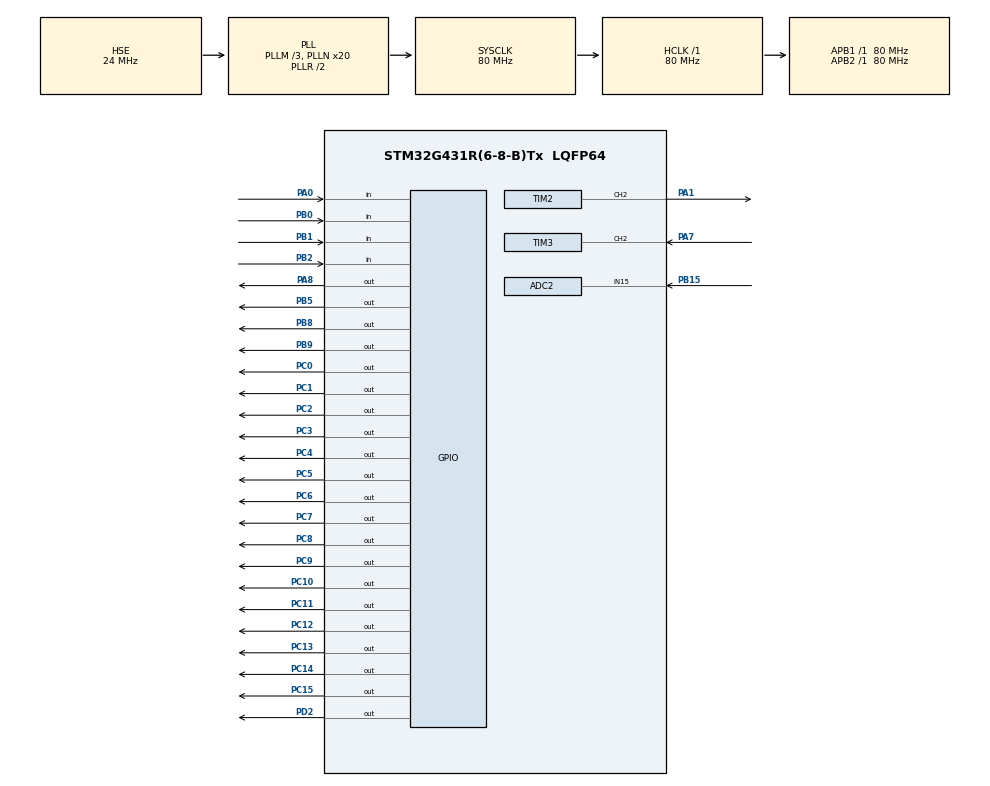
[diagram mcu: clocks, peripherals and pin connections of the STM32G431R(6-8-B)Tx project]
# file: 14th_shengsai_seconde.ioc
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ADC2.Channel-0\#ChannelRegularConversion=ADC_CHANNEL_15
ADC2.NbrOfConversionFlag=1
ADC2.OffsetNumber-0\#ChannelRegularConversion=ADC_OFFSET_NONE
ADC2.Rank-0\#ChannelRegularConversion=1
ADC2.SamplingTime-0\#ChannelRegularConversion=ADC_SAMPLETIME_2CYCLES_5
Mcu.Family=STM32G4
Mcu.Name=STM32G431R(6-8-B)Tx
Mcu.Package=LQFP64
NVIC.PriorityGroup=NVIC_PRIORITYGROUP_4
NVIC.TIM3_IRQn=true\:0\:0\:false\:false\:true\:true\:true\:true
NVIC.TIM4_IRQn=true\:0\:0\:false\:false\:true\:true\:true\:true
PA0.GPIO_PuPd=GPIO_PULLUP
PA0.Signal=GPIO_Input
PA1.Signal=S_TIM2_CH2
PA13.Mode=Serial_Wire
PA13.Signal=SYS_JTMS-SWDIO
PA14.Mode=Serial_Wire
PA14.Signal=SYS_JTCK-SWCLK
PA7.Signal=S_TIM3_CH2
PA8.Signal=GPIO_Output
PB0.GPIO_PuPd=GPIO_PULLUP
PB0.Signal=GPIO_Input
PB1.GPIO_PuPd=GPIO_PULLUP
PB1.Signal=GPIO_Input
PB15.Mode=IN15-Single-Ended
PB15.Signal=ADC2_IN15
PB2.GPIO_PuPd=GPIO_PULLUP
PB2.Signal=GPIO_Input
PB5.Signal=GPIO_Output
PB8-BOOT0.Signal=GPIO_Output
PB9.Signal=GPIO_Output
PC0.Signal=GPIO_Output
PC1.Signal=GPIO_Output
PC10.PinState=GPIO_PIN_SET
PC10.Signal=GPIO_Output
PC11.PinState=GPIO_PIN_SET
PC11.Signal=GPIO_Output
PC12.PinState=GPIO_PIN_SET
PC12.Signal=GPIO_Output
PC13.PinState=GPIO_PIN_SET
PC13.Signal=GPIO_Output
PC14-OSC32_IN.PinState=GPIO_PIN_SET
PC14-OSC32_IN.Signal=GPIO_Output
PC15-OSC32_OUT.PinState=GPIO_PIN_SET
PC15-OSC32_OUT.Signal=GPIO_Output
PC2.Signal=GPIO_Output
PC3.Signal=GPIO_Output
PC4.Signal=GPIO_Output
PC5.Signal=GPIO_Output
PC6.Signal=GPIO_Output
PC7.Signal=GPIO_Output
PC8.PinState=GPIO_PIN_SET
PC8.Signal=GPIO_Output
PC9.PinState=GPIO_PIN_SET
PC9.Signal=GPIO_Output
PD2.Signal=GPIO_Output
PF0-OSC_IN.Mode=HSE-External-Oscillator
PF0-OSC_IN.Signal=RCC_OSC_IN
PF1-OSC_OUT.Mode=HSE-External-Oscillator
PF1-OSC_OUT.Signal=RCC_OSC_OUT
ProjectManager.HeapSize=0x200
ProjectManager.StackSize=0x400
ProjectManager.TargetToolchain=MDK-ARM V5.32
RCC.ADC12Freq_Value=80000000
RCC.AHBFreq_Value=80000000
RCC.APB1Freq_Value=80000000
RCC.APB1TimFreq_Value=80000000
RCC.APB2Freq_Value=80000000
RCC.APB2TimFreq_Value=80000000
RCC.CortexFreq_Value=80000000
RCC.EXTERNAL_CLOCK_VALUE=12288000
RCC.HCLKFreq_Value=80000000
RCC.HSE_VALUE=24000000
RCC.HSI48_VALUE=48000000
RCC.HSI_VALUE=16000000
RCC.LSE_VALUE=32768
RCC.PLLM=RCC_PLLM_DIV3
RCC.PLLN=20
RCC.PLLSourceVirtual=RCC_PLLSOURCE_HSE
RCC.SYSCLKFreq_VALUE=80000000
RCC.SYSCLKSource=RCC_SYSCLKSOURCE_PLLCLK
RCC.USBFreq_Value=80000000
RCC.VCOOutputFreq_Value=160000000
SH.S_TIM2_CH2.0=TIM2_CH2,PWM Generation2 CH2
SH.S_TIM3_CH2.0=TIM3_CH2,Input_Capture2_from_TI2
TIM2.Channel-PWM\ Generation2\ CH2=TIM_CHANNEL_2
TIM2.PeriodNoDither=100-1
TIM2.Prescaler=200-1
TIM2.PulseNoDither_2=10
TIM3.Channel-Input_Capture2_from_TI2=TIM_CHANNEL_2
TIM3.Prescaler=80-1
TIM4.PeriodNoDither=10000-1
TIM4.Prescaler=80-1
VP_SYS_VS_DBSignals.Mode=DisableDeadBatterySignals
VP_TIM2_VS_ClockSourceINT.Mode=Internal
VP_TIM3_VS_ClockSourceINT.Mode=Internal
VP_TIM4_VS_ClockSourceINT.Mode=Internal
board=custom

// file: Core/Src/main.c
/* USER CODE BEGIN Header */
/**
  ******************************************************************************
  * @file           : main.c
  * @brief          : Main program body
  ******************************************************************************
  * @attention
  *
  * Copyright (c) 2024 STMicroelectronics.
  * All rights reserved.
  *
  * This software is licensed under terms that can be found in the LICENSE file
  * in the root directory of this software component.
  * If no LICENSE file comes with this software, it is provided AS-IS.
  *
  ******************************************************************************
  */
/* USER CODE END Header */
#include "main.h"
#include "adc.h"
#include "tim.h"
#include "gpio.h"

/* USER CODE BEGIN Includes */

#include "stdio.h"
#include "string.h"

#include "led.h"
#include "timer.h"
#include "lcd.h"
#include "myadc.h"

#include "math.h"

/* USER CODE END Includes */

/* USER CODE BEGIN PTD */

unsigned char ucled=0x00;
unsigned char lcd_text[30];
unsigned char view=0;

__IO uint32_t uwTick_led;
__IO uint32_t uwTick_lcd;
__IO uint32_t uwTick_V;

double v_speed;
unsigned char M=0;
unsigned int pa1_duty;

unsigned char choose_mode=0;

unsigned int R=1;
unsigned int K=1;

unsigned int R_change=1;
unsigned int K_change=1;

unsigned int N=0;
double MH=0;//高频模式最大速度
double ML=0;//高频模式最小速度

unsigned char locking;
unsigned char choose_RK=0;

unsigned int pa1_frq=4000;

/* USER CODE END PTD */

void SystemClock_Config(void);
/* USER CODE BEGIN PFP */

void lcd_proc(void);
void key_proc(void);
void led_proc(void);
void PA1_Change(void);

/* USER CODE END PFP */

int main(void)
{

  /* MCU Configuration--------------------------------------------------------*/

  /* Reset of all peripherals, Initializes the Flash interface and the Systick. */
  HAL_Init();

  /* Configure the system clock */
  SystemClock_Config();

  /* Initialize all configured peripherals */
  MX_GPIO_Init();
  MX_ADC2_Init();
  MX_TIM2_Init();
  MX_TIM3_Init();
  MX_TIM4_Init();
  /* USER CODE BEGIN 2 */

    LCD_Init();
    LCD_Clear(Black);
    LCD_SetBackColor(Black);
    LCD_SetTextColor(White);

    led_disp(ucled);

    HAL_TIM_Base_Start_IT(&htim4);

    HAL_TIM_PWM_Start(&htim2,TIM_CHANNEL_2);
    HAL_TIM_IC_Start_IT(&htim3,TIM_CHANNEL_2);

  /* USER CODE END 2 */

  /* Infinite loop */
  while (1)
  {

    /* USER CODE BEGIN 3 */
      key_proc();
      PA1_Change();
      lcd_proc();
      led_proc();
  }
  /* USER CODE END 3 */
}

void SystemClock_Config(void)
{
  RCC_OscInitTypeDef RCC_OscInitStruct = {0};
  RCC_ClkInitTypeDef RCC_ClkInitStruct = {0};

  /** Configure the main internal regulator output voltage
  */
  HAL_PWREx_ControlVoltageScaling(PWR_REGULATOR_VOLTAGE_SCALE1);

  /** Initializes the RCC Oscillators according to the specified parameters
  * in the RCC_OscInitTypeDef structure.
  */
  RCC_OscInitStruct.OscillatorType = RCC_OSCILLATORTYPE_HSE;
  RCC_OscInitStruct.HSEState = RCC_HSE_ON;
  RCC_OscInitStruct.PLL.PLLState = RCC_PLL_ON;
  RCC_OscInitStruct.PLL.PLLSource = RCC_PLLSOURCE_HSE;
  RCC_OscInitStruct.PLL.PLLM = RCC_PLLM_DIV3;
  RCC_OscInitStruct.PLL.PLLN = 20;
  RCC_OscInitStruct.PLL.PLLP = RCC_PLLP_DIV2;
  RCC_OscInitStruct.PLL.PLLQ = RCC_PLLQ_DIV2;
  RCC_OscInitStruct.PLL.PLLR = RCC_PLLR_DIV2;
  if (HAL_RCC_OscConfig(&RCC_OscInitStruct) != HAL_OK)
  {
    Error_Handler();
  }

  /** Initializes the CPU, AHB and APB buses clocks
  */
  RCC_ClkInitStruct.ClockType = RCC_CLOCKTYPE_HCLK|RCC_CLOCKTYPE_SYSCLK
                              |RCC_CLOCKTYPE_PCLK1|RCC_CLOCKTYPE_PCLK2;
  RCC_ClkInitStruct.SYSCLKSource = RCC_SYSCLKSOURCE_PLLCLK;
  RCC_ClkInitStruct.AHBCLKDivider = RCC_SYSCLK_DIV1;
  RCC_ClkInitStruct.APB1CLKDivider = RCC_HCLK_DIV1;
  RCC_ClkInitStruct.APB2CLKDivider = RCC_HCLK_DIV1;

  if (HAL_RCC_ClockConfig(&RCC_ClkInitStruct, FLASH_LATENCY_2) != HAL_OK)
  {
    Error_Handler();
  }
}

/* USER CODE BEGIN 4 */

void PA1_Change(void)
{
    if(0==locking)//不处于锁定状态，占空比受R37电位器输出电压控制
    {
        double R_37;
        R_37=GetAdc(&hadc2);
        if(R_37<=1)
        {
            pa1_duty=10;
          __HAL_TIM_SetCompare(&htim2,TIM_CHANNEL_2,pa1_duty);
        }
        else if(R_37>=3)
        {
            pa1_duty=85;
          __HAL_TIM_SetCompare(&htim2,TIM_CHANNEL_2,pa1_duty);
        }
        else
        {
            pa1_duty=((75.0/2)*R_37-(55.0/2.0));
          __HAL_TIM_SetCompare(&htim2,TIM_CHANNEL_2,pa1_duty);

        }
    }
}

void lcd_proc(void)
{
    if((uwTick-uwTick_lcd)<100)return;
    uwTick_lcd=uwTick;

    switch(view)
    {
        case 0://数据显示界面
            memset(lcd_text,0,sizeof(lcd_text));
            sprintf((char *)lcd_text,"        DATA          ");
            LCD_DisplayStringLine(Line1,lcd_text);

            memset(lcd_text,0,sizeof(lcd_text));
            switch(M)
            {
                case 0://低频
                    sprintf((char *)lcd_text,"     M=L          ");
                    break;
                case 1://高频
                    sprintf((char *)lcd_text,"     M=H          ");
                    break;
            }
            LCD_DisplayStringLine(Line3,lcd_text);

            memset(lcd_text,0,sizeof(lcd_text));
            sprintf((char *)lcd_text,"     P=%d%%               ",pa1_duty);
            LCD_DisplayStringLine(Line4,lcd_text);

            memset(lcd_text,0,sizeof(lcd_text));
            sprintf((char *)lcd_text,"     V=%0.1f              ",v_speed);
            LCD_DisplayStringLine(Line5,lcd_text);

            break;
        case 1://参数界面
            memset(lcd_text,0,sizeof(lcd_text));
            sprintf((char *)lcd_text,"        PARA          ");
            LCD_DisplayStringLine(Line1,lcd_text);

            memset(lcd_text,0,sizeof(lcd_text));
            sprintf((char *)lcd_text,"     R=%d               ",R_change);
            LCD_DisplayStringLine(Line3,lcd_text);

            memset(lcd_text,0,sizeof(lcd_text));
            sprintf((char *)lcd_text,"     K=%d               ",K_change);
            LCD_DisplayStringLine(Line4,lcd_text);

            break;
        case 2://统计界面
            memset(lcd_text,0,sizeof(lcd_text));
            sprintf((char *)lcd_text,"        RECD          ");
            LCD_DisplayStringLine(Line1,lcd_text);

            memset(lcd_text,0,sizeof(lcd_text));
            sprintf((char *)lcd_text,"     N=%d               ",N);
            LCD_DisplayStringLine(Line3,lcd_text);

            memset(lcd_text,0,sizeof(lcd_text));
            sprintf((char *)lcd_text,"     MH=%0.1f              ",MH);
            LCD_DisplayStringLine(Line4,lcd_text);

            memset(lcd_text,0,sizeof(lcd_text));
            sprintf((char *)lcd_text,"     ML=%0.1f              ",ML);
            LCD_DisplayStringLine(Line5,lcd_text);

            break;
    }

}

void key_proc(void)
{
    if(1==key[0].single_flag)//界面切换按键
    {
        key[0].single_flag=0;
        if(0==view)//每次从数据界面进入到参数界面时，默认当前可调整的参数为R
        {
            choose_RK=0;
        }
        if(1==view)//从参数界面退出时，新的R参数和K参数生效
        {
            R=R_change;
            K=K_change;
        }
        view++;
        if(3==view)view=0;
        LCD_Clear(Black);
    }
    else if(1==key[1].single_flag)//选择按键
    {
        key[1].single_flag=0;
        if(0==view)//选择切换低频或高频模式，按键按下后5S内不能再次触发切换功能
        {
               if(0==choose_mode)
               {
                   choose_mode=1;//按键按下标志位
               }
        }
        else if(1==view)//切换选择R或K参数，每次从数据界面进入参数界面，默认可调整的参数为R，从参数界面退出时，新的R参数和K参数生效
        {
            choose_RK=!choose_RK;
        }
    }
    else if(1==key[2].single_flag)//参数加按键
    {
        key[2].single_flag=0;
        if(1==view)
        {
            if(0==choose_RK)//可调整参数为R
            {
                R_change++;
                if(R_change==11)R_change=1;
            }
            else if(1==choose_RK)//可调整参数为K
            {
                K_change++;
                if(K_change==11)K_change=1;
            }
        }
    }
    else if(1==key[3].single_flag)//参数减按键\解锁
    {
        key[3].single_flag=0;
        if(0==view)//解锁
        {
            if(1==locking)
            locking=0;
        }
        else if(1==view)//参数减1
        {
           if(0==choose_RK)//可调整参数为R
            {
                R_change--;
                if(R_change==0)R_change=10;
            }
            else if(1==choose_RK)//可调整参数为K
            {
                K_change--;
                if(K_change==0)K_change=10;
            }
        }
    }
    else if(1==key[3].long_flag)//锁定
    {
        key[3].long_flag=0;
        if(0==view)
        {
            locking=1;//锁定
        }
    }
}

void led_proc(void)
{
    if((uwTick-uwTick_led)<50)return;
    uwTick_led=uwTick;

    if(0==view)//数据界面，LD1亮
    {
        ucled|=0x01;
    }
    else
    {
        ucled&=0xfe;
    }

    if(1==locking)//锁定状态,LD3亮
    {
        ucled|=0x04;
    }
    else
    {
        ucled&=0xfb;
    }

    led_disp(ucled);
}

/* USER CODE END 4 */

void Error_Handler(void)
{
  __disable_irq();
  while (1)
  {
  }
}
